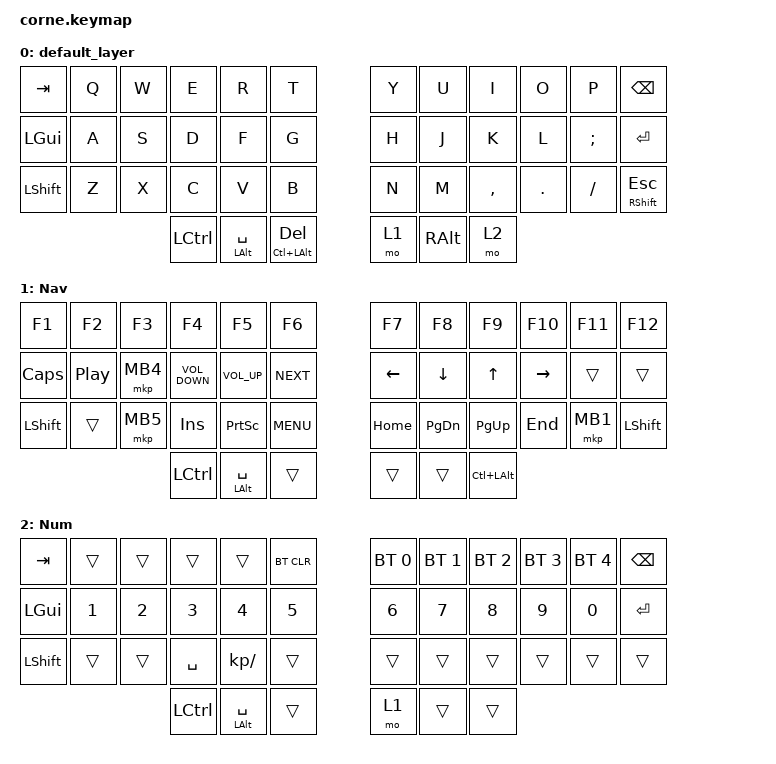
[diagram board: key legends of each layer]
/*
 * Copyright (c) 2020 The ZMK Contributors
 *
 * SPDX-License-Identifier: MIT
 */

#include <dt-bindings/zmk/mouse.h>
#include <behaviors.dtsi>
#include <dt-bindings/zmk/bt.h>
#include <dt-bindings/zmk/keys.h>
#include <dt-bindings/zmk/pointing.h>

/ {
    behaviors {
        kp_to_layer: kp_to_layer {
            compatible = "zmk,behavior-hold-tap";
            label = "KP_TO_LAYER";
            bindings = <&kp>, <&tog>;

            #binding-cells = <2>;
            tapping-term-ms = <200>;
        };
    };

    keymap {
        compatible = "zmk,keymap";

        default_layer {
            // -----------------------------------------------------------------------------------------
            // |  TAB |  Q  |  W  |  E  |  R  |  T  |   |  Y  |  U   |  I  |  O  |  P  | BKSP |
            // | CTRL |  A  |  S  |  D  |  F  |  G  |   |  H  |  J   |  K  |  L  |  ;  |  '   |
            // | SHFT |  Z  |  X  |  C  |  V  |  B  |   |  N  |  M   |  ,  |  .  |  /  | ESC  |
            //                    | GUI | LWR | SPC |   | ENT | RSE  | ALT |

            bindings = <
&kp TAB         &kp Q  &kp W  &kp E      &kp R               &kp T                   &kp Y  &kp U          &kp I      &kp O    &kp P     &kp BACKSPACE
&kp LEFT_GUI    &kp A  &kp S  &kp D      &kp F               &kp G                   &kp H  &kp J          &kp K      &kp L    &kp SEMI  &kp ENTER
&kp LEFT_SHIFT  &kp Z  &kp X  &kp C      &kp V               &kp B                   &kp N  &kp M          &kp COMMA  &kp DOT  &kp FSLH  &mt RIGHT_SHIFT ESCAPE
                              &kp LCTRL  &mt LEFT_ALT SPACE  &mt LC(LEFT_ALT) DEL    &mo 1  &kp RIGHT_ALT  &mo 2
            >;
        };

        Nav {
            // -----------------------------------------------------------------------------------------
            // |  TAB |  1  |  2  |  3  |  4  |  5  |   |  6  |  7  |  8  |  9  |  0  | BKSP |
            // | BTCLR| BT1 | BT2 | BT3 | BT4 | BT5 |   | LFT | DWN |  UP | RGT |     |      |
            // | SHFT |     |     |     |     |     |   |     |     |     |     |     |      |
            //                    | GUI |     | SPC |   | ENT |     | ALT |

            bindings = <
&kp F1          &kp F2            &kp F3    &kp F4             &kp F5              &kp F6        &kp F7    &kp F8         &kp F9            &kp F10    &kp F11   &kp F12
&kp CAPSLOCK    &kp C_PLAY_PAUSE  &mkp MB4  &kp C_VOLUME_DOWN  &kp C_VOLUME_UP     &kp C_NEXT    &kp LEFT  &kp DOWN       &kp UP            &kp RIGHT  &trans    &trans
&kp LEFT_SHIFT  &trans            &mkp MB5  &kp INS            &kp PRINTSCREEN     &kp K_MENU    &kp HOME  &kp PAGE_DOWN  &kp PAGE_UP       &kp END    &mkp MB1  &kp LEFT_SHIFT
                                            &kp LCTRL          &mt LEFT_ALT SPACE  &trans        &trans    &trans         &kp LC(LEFT_ALT)
            >;
        };

        Num {
            bindings = <
&kp TAB         &trans        &trans        &trans        &trans              &bt BT_CLR      &bt BT_SEL 0  &bt BT_SEL 1  &bt BT_SEL 2  &bt BT_SEL 3  &bt BT_SEL 4  &kp BACKSPACE
&kp LEFT_GUI    &kp NUMBER_1  &kp NUMBER_2  &kp NUMBER_3  &kp NUMBER_4        &kp NUMBER_5    &kp NUMBER_6  &kp NUMBER_7  &kp NUMBER_8  &kp NUMBER_9  &kp NUMBER_0  &kp ENTER
&kp LEFT_SHIFT  &trans        &trans        &kp SPACE     &kp KP_SLASH        &trans          &trans        &trans        &trans        &trans        &trans        &trans
                                            &kp LCTRL     &mt LEFT_ALT SPACE  &trans          &mo 1         &trans        &trans
            >;
        };
    };
};
